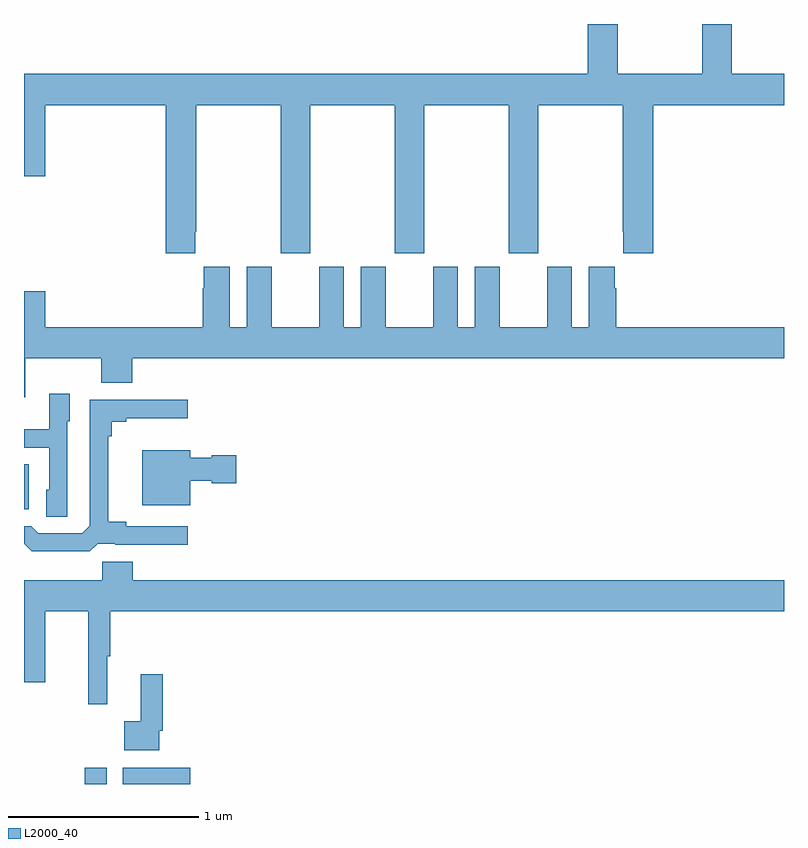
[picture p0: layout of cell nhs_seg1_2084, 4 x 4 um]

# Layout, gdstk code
import gdstk
lib = gdstk.Library(unit=1e-6, precision=1e-09)
def R(c, l, rs):  # rectangles x0, y0, x1, y1
    for r in rs: c.add(gdstk.rectangle(r[:2], r[2:], *l))
def P(c, l, *ps):  # polygons
    for p in ps: c.add(gdstk.Polygon(p, *l))
L2000_40 = (2000, 40)

nhs_seg1_2084 = lib.new_cell('nhs_seg1_2084')
R(nhs_seg1_2084, L2000_40, [(225.319,508.199,225.435,508.285), (225.52,508.199,225.874,508.285), (225,509.645,225.025,509.881)])
P(nhs_seg1_2084, L2000_40, [(225.901,511.105),(225.906,511.105),(225.906,511.772),(226.351,511.772),(226.351,510.993),(226.506,510.993),(226.506,511.772),(226.951,511.772),(226.951,510.993),(227.106,510.993),(227.106,511.772),(227.551,511.772),(227.551,510.993),(227.706,510.993),(227.706,511.772),(228.151,511.772),(228.151,511.105),(228.155,511.105),(228.155,510.993),(228.311,510.993),(228.311,511.772),(229,511.772),(229,511.936),(228.726,511.936),(228.726,512.199),(228.571,512.199),(228.571,511.936),(228.126,511.936),(228.126,512.199),(227.966,512.199),(227.966,511.936),(225,511.936),(225,511.398),(225.112,511.398),(225.112,511.772),(225.746,511.772),(225.746,510.993),(225.901,510.993)],
  [(225.007,510.44),(225.407,510.44),(225.407,510.312),(225.571,510.312),(225.571,510.44),(229,510.44),(229,510.604),(228.116,510.604),(228.116,510.809),(228.109,510.809),(228.109,510.922),(227.972,510.922),(227.972,510.604),(227.884,510.604),(227.884,510.922),(227.753,510.922),(227.753,510.604),(227.503,510.604),(227.503,510.922),(227.372,510.922),(227.372,510.604),(227.284,510.604),(227.284,510.922),(227.153,510.922),(227.153,510.604),(226.903,510.604),(226.903,510.922),(226.772,510.922),(226.772,510.604),(226.684,510.604),(226.684,510.922),(226.553,510.922),(226.553,510.604),(226.303,510.604),(226.303,510.922),(226.172,510.922),(226.172,510.604),(226.084,510.604),(226.084,510.922),(225.947,510.922),(225.947,510.809),(225.941,510.809),(225.941,510.604),(225.112,510.604),(225.112,510.793),(225,510.793),(225,510.234),(225.007,510.234)],
  [(225.228,510.108),(225.241,510.108),(225.241,510.253),(225.132,510.253),(225.132,510.067),(225,510.067),(225,509.97),(225.132,509.97),(225.132,509.748),(225.116,509.748),(225.116,509.605),(225.228,509.605)],
  [(225.387,509.463),(225.481,509.463),(225.481,509.459),(225.862,509.459),(225.862,509.556),(225.538,509.556),(225.538,509.579),(225.443,509.579),(225.443,510.029),(225.461,510.029),(225.461,510.106),(225.538,510.106),(225.538,510.125),(225.862,510.125),(225.862,510.222),(225.345,510.222),(225.345,509.559),(225.306,509.52),(225.075,509.52),(225.039,509.556),(225,509.556),(225,509.463),(225.04,509.424),(225.347,509.424)],
  [(225.874,509.795),(225.987,509.795),(225.987,509.783),(226.117,509.783),(226.117,509.93),(225.987,509.93),(225.987,509.917),(225.874,509.917),(225.874,509.956),(225.623,509.956),(225.623,509.666),(225.874,509.666)],
  [(225.437,508.872),(225.455,508.872),(225.455,509.108),(229,509.108),(229,509.272),(225.572,509.272),(225.572,509.37),(225.412,509.37),(225.412,509.272),(225,509.272),(225,508.734),(225.112,508.734),(225.112,509.108),(225.337,509.108),(225.337,508.62),(225.437,508.62)],
  [(225.711,508.48),(225.731,508.48),(225.731,508.777),(225.614,508.777),(225.614,508.529),(225.528,508.529),(225.528,508.376),(225.711,508.376)])

lib.write_gds('nhs_seg1_2084.gds')
